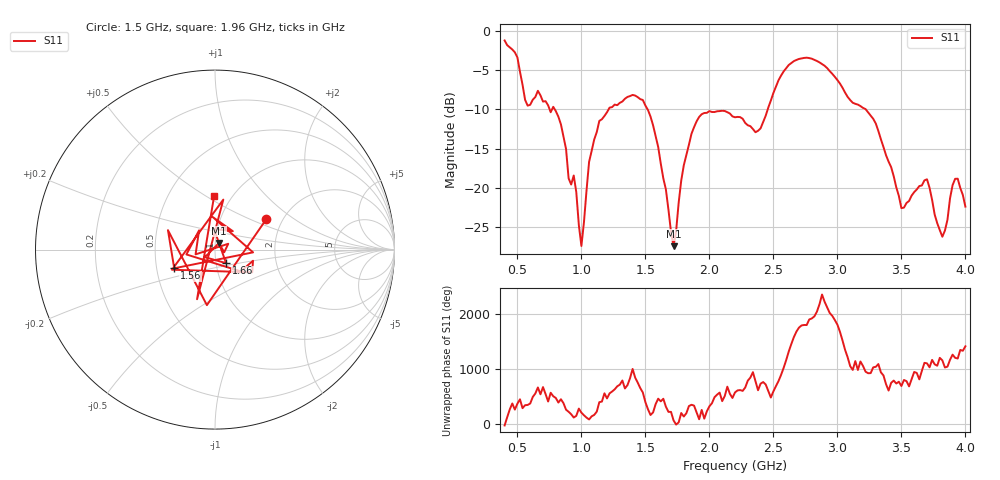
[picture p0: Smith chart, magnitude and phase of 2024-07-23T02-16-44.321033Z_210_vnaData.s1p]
!Created with skrf (http://scikit-rf.org).
# Hz S RI R 50.0
!freq ReS11 ImS11
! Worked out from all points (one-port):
!   181 points, 400 MHz to 4 GHz, reference 50 ohm
!   lowest |S11| = -27.4 dB at 1.72 GHz (marker M1), VSWR 1.09, Z = 52.1 + j3.82 ohm
!   |S11| at or under -10 dB: 791.2 MHz to 1.213 GHz (421.9 MHz wide, 42.1 % of centre); 1.517 GHz to 2.456 GHz (939.5 MHz wide, 47.3 % of centre); 3.221 GHz to end of sweep (the widest 3 of 4)
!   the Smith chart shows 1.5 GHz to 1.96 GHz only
!   S11 on the Smith chart (normalised r, x): 1.5 GHz: 1.65, +0.63; 1.56 GHz: 0.62, -0.14; 1.66 GHz: 1.12, -0.17; 1.96 GHz: 0.83, +0.54
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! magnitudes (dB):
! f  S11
! 400 MHz  -1.3
! 580 MHz  -9.5
! 660 MHz  -7.7
! 860 MHz  -13.5
! 900 MHz  -18.8
! 940 MHz  -18.4
! 1 GHz  -27.4
! 1.06 GHz  -16.7
! 1.1 GHz  -13.9
! 1.3 GHz  -9.2
! 1.5 GHz  -9.5
! 1.56 GHz  -12.0
! 1.66 GHz  -20.2
! 1.72 GHz  -27.4
! 1.76 GHz  -21.9
! 1.86 GHz  -13.1
! 1.96 GHz  -10.5
! 2.2 GHz  -11.0
! 2.38 GHz  -12.7
! 2.66 GHz  -3.9
! 3.1 GHz  -8.8
! 3.28 GHz  -11.2
! 3.5 GHz  -22.6
! 3.56 GHz  -21.7
! 3.7 GHz  -18.9
! 3.82 GHz  -26.2
! 3.92 GHz  -18.9
! 4 GHz  -22.4
